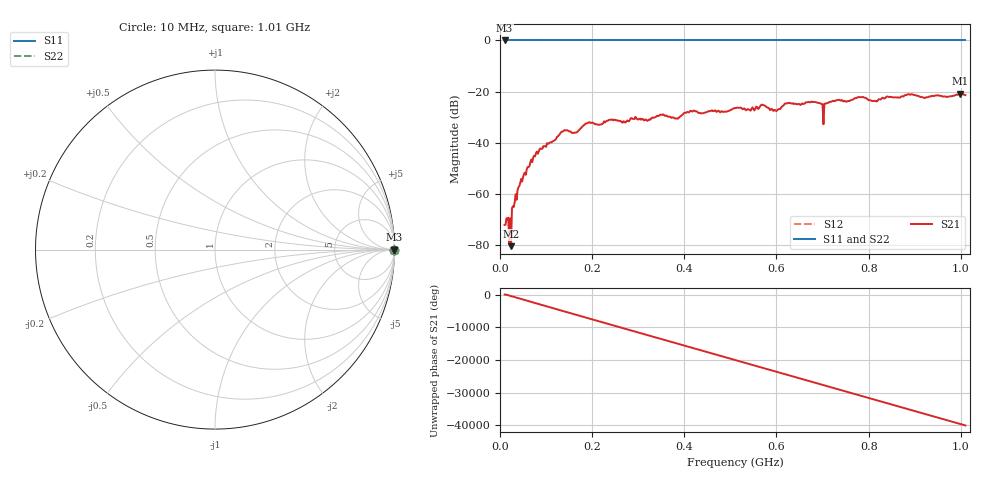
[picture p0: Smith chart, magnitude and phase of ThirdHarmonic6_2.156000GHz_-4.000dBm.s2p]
! 8/17/2025 1:44:12 AM
! C:\ANRITSUVNA\TEMP\TEMP.S2P
! CHANNEL.1
! TR.MEASUREMENT
! RAW.DATA
! RF.CORRECTION.OFF
! AVERAGING.OFF
! IF.BANDWIDTH: 5KHZ
! SWEEPTYPE:  FREQ.SWEEP(Linear)
! Reference Plane Port Info
! PORT:  PORT1  PORT2
! DISTANCE:  0  m  0  m
! TIME:  0  s  0  s
! PHASE.OFFSET:  0  deg.  0  deg.
! LOSS:  0  dB  0  dB
! REF.LOSS:  0  dB  0  dB
! REF.FREQ:  0  Hz  0  Hz
! Power Info
! POWER:  -20  dBm  -20  dBm
! EFF.POWER:  -20  dBm  -20  dBm
! SOURCE.ATTEN:  0  dB  0  dB
! TEST.ATTEN:  0  dB  0  dB
# GHZ S RI R 50.0
! FREQ.GHZ  S11RE  S11IM  S21RE  S21IM  S12RE  S12IM  S22RE  S22IM
!; PortSelection: Port_12
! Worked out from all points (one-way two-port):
!   501 points, 10 MHz to 1.01 GHz, reference 50 ohm
!   highest |S21| = -20.76 dB at 998 MHz (marker M1); lowest = -80.5 dB at 24 MHz (marker M2)
!   lowest |S11| = 0.0 dB at 10 MHz (marker M3)
!   |S11| at or under -10 dB: nowhere
!   |S22| runs from 0.0 to 0.0 dB; largest |S21 - S12| = 1.1
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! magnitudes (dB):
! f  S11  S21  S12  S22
! 10 MHz  0.0  -72.2  0.0  0.0
! 14 MHz  0.0  -69.6  0.0  0.0
! 20 MHz  0.0  -79.5  0.0  0.0
! 24 MHz  0.0  -80.5  0.0  0.0
! 30 MHz  0.0  -65.1  0.0  0.0
! 42 MHz  0.0  -56.9  0.0  0.0
! 76 MHz  0.0  -45.4  0.0  0.0
! 136 MHz  0.0  -35.6  0.0  0.0
! 178 MHz  0.0  -33.8  0.0  0.0
! 344 MHz  0.0  -29.6  0.0  0.0
! 384 MHz  0.0  -30.5  0.0  0.0
! 416 MHz  0.0  -27.7  0.0  0.0
! 510 MHz  0.0  -26.4  0.0  0.0
! 570 MHz  0.0  -25.1  0.0  0.0
! 598 MHz  0.0  -27.4  0.0  0.0
! 622 MHz  0.0  -24.7  0.0  0.0
! 678 MHz  0.0  -24.1  0.0  0.0
! 702 MHz  0.0  -32.8  0.0  0.0
! 732 MHz  0.0  -23.3  0.0  0.0
! 844 MHz  0.0  -22.1  0.0  0.0
! 998 MHz  0.0  -20.8  0.0  0.0
! 1.01 GHz  0.0  -21.4  0.0  0.0
